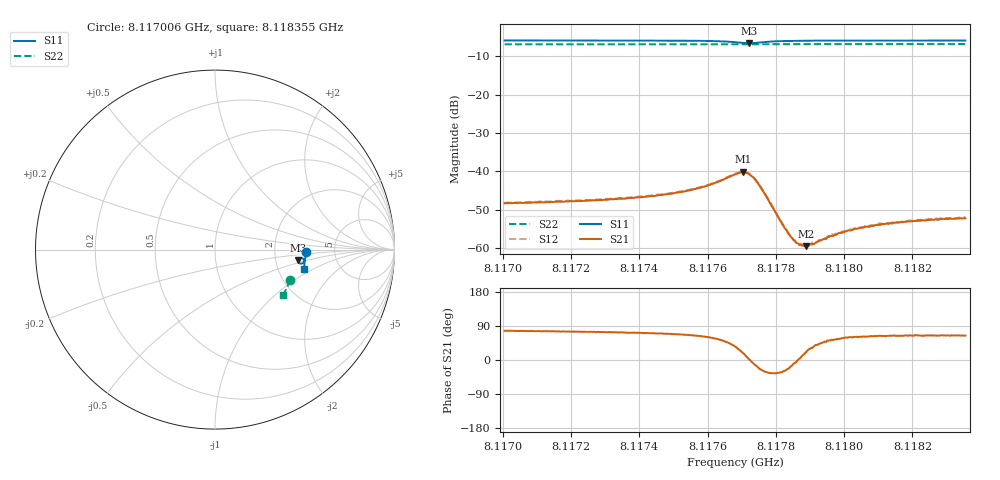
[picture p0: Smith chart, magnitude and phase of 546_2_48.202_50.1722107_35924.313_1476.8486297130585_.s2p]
#  HZ  S  RI  R  50.00
! Rohde & Schwarz Vector Network Analyzer
! Rohde-Schwarz,ZNB20-2Port,1311601062101988,3.16
! Created: UTC 3/20/2024, 12:00:35 PM
! freq[Hz]  re:S11  im:S11  re:S21  im:S21  re:S12  im:S12  re:S22  im:S22
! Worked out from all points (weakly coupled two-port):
!   401 points, 8.117006 GHz to 8.118355 GHz, reference 50 ohm
!   highest |S21| = -40.14 dB at 8.117704 GHz (marker M1); lowest = -59.5 dB at 8.117889 GHz (marker M2)
!   lowest |S11| = -6.6 dB at 8.117721 GHz (marker M3), VSWR 2.75, Z = 134 - j20.4 ohm
!   |S11| at or under -10 dB: nowhere
!   |S22| runs from -6.9 to -6.8 dB; largest |S21 - S12| = 0.00039
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8.1170057e9  0.5065 -0.0159  0.000855 0.00372  0.000884 0.0038  0.4187 -0.1688
8.1172317e9  0.505 -0.0341  0.00111 0.00396  0.00114 0.00405  0.413 -0.1836
8.1173565e9  0.5037 -0.0446  0.00132 0.0042  0.00139 0.00431  0.4096 -0.1918
8.1174577e9  0.5018 -0.0539  0.00164 0.0046  0.00172 0.00468  0.4069 -0.1982
8.1175252e9  0.4998 -0.0611  0.00209 0.00499  0.00219 0.00509  0.4047 -0.2027
8.1175893e9  0.4958 -0.0691  0.00296 0.00557  0.00306 0.00562  0.4029 -0.2068
8.1176804e9  0.4745 -0.078  0.00738 0.00536  0.00754 0.00536  0.3991 -0.2125
8.117704e9  0.4648 -0.0705  0.00934 0.0031  0.00935 0.00304  0.398 -0.2135
8.1177208e9  0.4626 -0.0597  0.00921 0.000353  0.0094 0.000389  0.3976 -0.214
8.1177377e9  0.4676 -0.0502  0.00778 -0.00162  0.00789 -0.00178  0.3976 -0.2147
8.1177546e9  0.4761 -0.046  0.00568 -0.00256  0.00583 -0.00267  0.3975 -0.2155
8.1178186e9  0.4945 -0.0547  0.00173 -0.00109  0.0018 -0.0011  0.3962 -0.2198
8.1178456e9  0.4971 -0.0595  0.00132 -0.000378  0.00133 -0.000389  0.3954 -0.2217
8.1178659e9  0.4979 -0.0627  0.00114 3.21e-05  0.00113 1.48e-05  0.3949 -0.2232
8.1178895e9  0.4985 -0.0661  0.000982 0.000393  0.00102 0.000396  0.3942 -0.2247
8.1179063e9  0.4987 -0.0683  0.000942 0.000589  0.000992 0.000641  0.3936 -0.2257
8.1179569e9  0.4989 -0.0741  0.000874 0.00111  0.00089 0.00108  0.3919 -0.229
8.1180075e9  0.4986 -0.0794  0.000853 0.00143  0.00091 0.00146  0.3903 -0.2321
8.118102e9  0.4975 -0.0879  0.000896 0.0018  0.00096 0.00186  0.3871 -0.2381
8.1181323e9  0.4971 -0.0904  0.000914 0.00187  0.000929 0.0019  0.3859 -0.2399
8.1182538e9  0.4954 -0.1004  0.00102 0.00212  0.00103 0.00216  0.3817 -0.2472
8.118355e9  0.4936 -0.1084  0.00106 0.0022  0.00114 0.00227  0.3781 -0.2535
